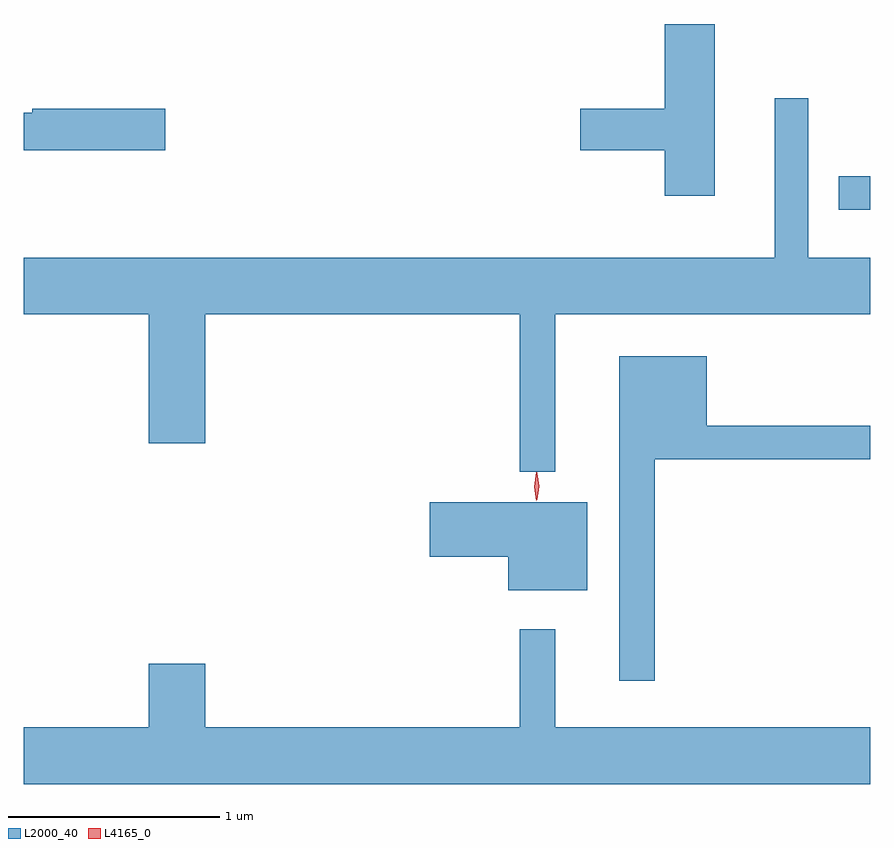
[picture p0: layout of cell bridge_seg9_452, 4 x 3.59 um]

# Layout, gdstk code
import gdstk
lib = gdstk.Library(unit=1e-6, precision=1e-09)
def R(c, l, rs):  # rectangles x0, y0, x1, y1
    for r in rs: c.add(gdstk.rectangle(r[:2], r[2:], *l))
def P(c, l, *ps):  # polygons
    for p in ps: c.add(gdstk.Polygon(p, *l))
L2000_40 = (2000, 40)
L4165_0 = (4165, 0)

bridge_seg9_452 = lib.new_cell('bridge_seg9_452')
R(bridge_seg9_452, L2000_40, [(657.898,1998.971,658.047,1999.129)])
P(bridge_seg9_452, L2000_40, [(657.314,1999.849),(657.076,1999.849),(657.076,1999.449),(656.676,1999.449),(656.676,1999.251),(657.076,1999.251),(657.076,1999.036),(657.314,1999.036)],
  [(656.559,1998.476),(658.047,1998.476),(658.047,1998.744),(657.754,1998.744),(657.754,1999.498),(657.596,1999.498),(657.596,1998.744),(654.047,1998.744),(654.047,1998.476),(654.636,1998.476),(654.636,1997.866),(654.904,1997.866),(654.904,1998.476),(656.391,1998.476),(656.391,1997.733),(656.559,1997.733)],
  [(654.714,1999.449),(654.086,1999.449),(654.086,1999.429),(654.047,1999.429),(654.047,1999.251),(654.714,1999.251)],
  [(657.029,1997.791),(658.047,1997.791),(658.047,1997.949),(657.274,1997.949),(657.274,1998.279),(656.861,1998.279),(656.861,1996.743),(657.029,1996.743)],
  [(656.709,1997.589),(655.966,1997.589),(655.966,1997.331),(656.336,1997.331),(656.336,1997.171),(656.709,1997.171)],
  [(658.047,1996.524),(656.559,1996.524),(656.559,1996.988),(656.391,1996.988),(656.391,1996.524),(654.904,1996.524),(654.904,1996.824),(654.636,1996.824),(654.636,1996.524),(654.047,1996.524),(654.047,1996.256),(658.047,1996.256)])
P(bridge_seg9_452, L4165_0, [(656.468,1997.594),(656.46,1997.662),(656.47,1997.73),(656.47,1997.73),(656.471,1997.73),(656.48,1997.662),(656.469,1997.594),(656.469,1997.594)],
  [(656.472,1997.6),(656.463,1997.664),(656.472,1997.726),(656.473,1997.727),(656.473,1997.726),(656.483,1997.664),(656.473,1997.6),(656.473,1997.6)])

lib.write_gds('bridge_seg9_452.gds')
